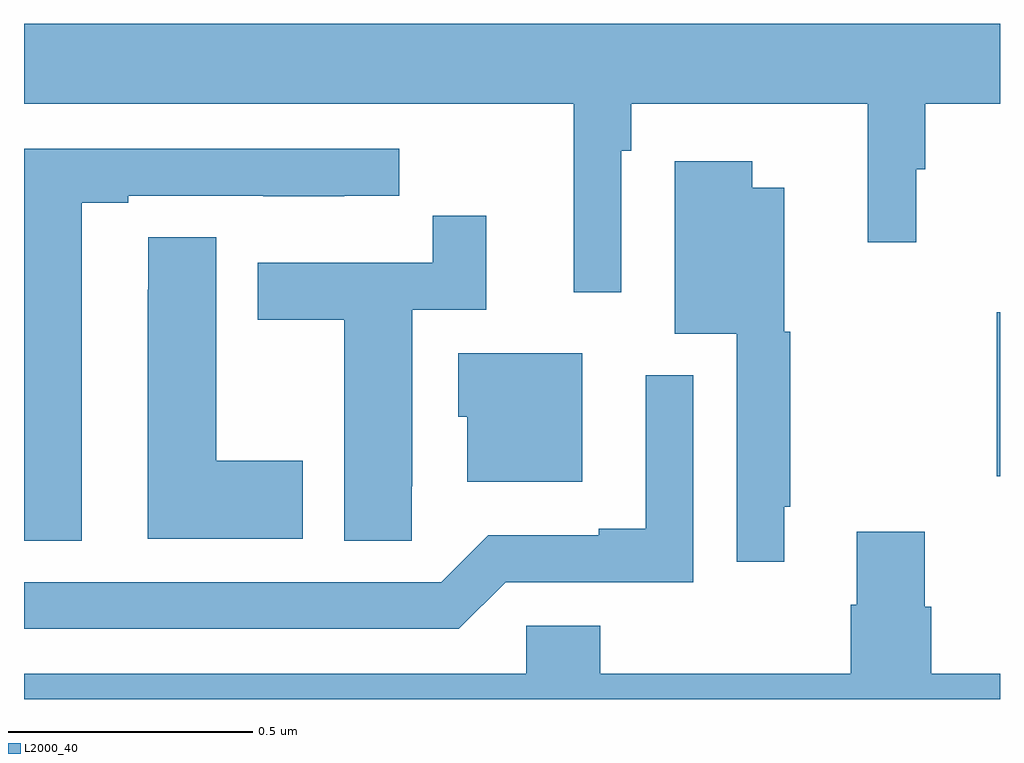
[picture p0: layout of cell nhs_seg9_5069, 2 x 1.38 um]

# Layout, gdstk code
import gdstk
lib = gdstk.Library(unit=1e-6, precision=1e-09)
def R(c, l, rs):  # rectangles x0, y0, x1, y1
    for r in rs: c.add(gdstk.rectangle(r[:2], r[2:], *l))
def P(c, l, *ps):  # polygons
    for p in ps: c.add(gdstk.Polygon(p, *l))
L2000_40 = (2000, 40)

nhs_seg9_5069 = lib.new_cell('nhs_seg9_5069')
R(nhs_seg9_5069, L2000_40, [(175.993,1228.957,176,1229.293)])
P(nhs_seg9_5069, L2000_40, [(175.224,1229.624),(175.244,1229.624),(175.244,1229.72),(175.729,1229.72),(175.729,1229.436),(175.828,1229.436),(175.828,1229.586),(175.847,1229.586),(175.847,1229.72),(176,1229.72),(176,1229.884),(174,1229.884),(174,1229.72),(175.127,1229.72),(175.127,1229.334),(175.224,1229.334)],
  [(174.118,1229.517),(174.214,1229.517),(174.214,1229.532),(174.49,1229.532),(174.49,1229.531),(174.656,1229.531),(174.656,1229.532),(174.769,1229.532),(174.769,1229.628),(174,1229.628),(174,1228.825),(174.118,1228.825)],
  [(175.558,1228.894),(175.57,1228.894),(175.57,1229.253),(175.558,1229.253),(175.558,1229.548),(175.492,1229.548),(175.492,1229.602),(175.334,1229.602),(175.334,1229.249),(175.461,1229.249),(175.461,1228.782),(175.558,1228.782)],
  [(174.795,1228.936),(174.796,1228.936),(174.796,1229.298),(174.947,1229.298),(174.947,1229.491),(174.838,1229.491),(174.838,1229.394),(174.479,1229.394),(174.479,1229.278),(174.656,1229.278),(174.656,1228.825),(174.795,1228.825)],
  [(174.571,1228.989),(174.394,1228.989),(174.394,1229.447),(174.255,1229.447),(174.255,1229.339),(174.254,1229.339),(174.254,1228.829),(174.571,1228.829)],
  [(175.144,1229.209),(174.89,1229.209),(174.89,1229.079),(174.908,1229.079),(174.908,1228.946),(175.144,1228.946)],
  [(174.987,1228.74),(175.371,1228.74),(175.371,1229.164),(175.274,1229.164),(175.274,1228.849),(175.178,1228.849),(175.178,1228.836),(174.951,1228.836),(174.855,1228.74),(174,1228.74),(174,1228.644),(174.891,1228.644)],
  [(176,1228.552),(175.859,1228.552),(175.859,1228.689),(175.846,1228.689),(175.846,1228.843),(175.706,1228.843),(175.706,1228.694),(175.694,1228.694),(175.694,1228.552),(175.181,1228.552),(175.181,1228.65),(175.029,1228.65),(175.029,1228.552),(174,1228.552),(174,1228.5),(176,1228.5)])

lib.write_gds('nhs_seg9_5069.gds')
